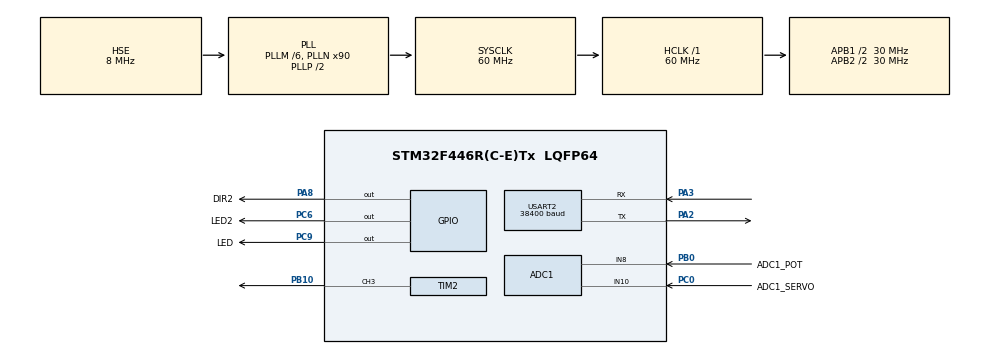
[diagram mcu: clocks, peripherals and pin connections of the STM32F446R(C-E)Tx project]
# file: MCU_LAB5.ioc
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ADC1.Channel-0\#ChannelRegularConversion=ADC_CHANNEL_10
ADC1.Channel-1\#ChannelRegularConversion=ADC_CHANNEL_8
ADC1.ContinuousConvMode=DISABLE
ADC1.DMAContinuousRequests=ENABLE
ADC1.NbrOfConversion=2
ADC1.NbrOfConversionFlag=1
ADC1.Rank-0\#ChannelRegularConversion=1
ADC1.Rank-1\#ChannelRegularConversion=2
ADC1.SamplingTime-0\#ChannelRegularConversion=ADC_SAMPLETIME_15CYCLES
ADC1.SamplingTime-1\#ChannelRegularConversion=ADC_SAMPLETIME_15CYCLES
ADC1.master=1
Dma.ADC1.0.Direction=DMA_PERIPH_TO_MEMORY
Dma.ADC1.0.FIFOMode=DMA_FIFOMODE_DISABLE
Dma.ADC1.0.Instance=DMA2_Stream0
Dma.ADC1.0.MemDataAlignment=DMA_MDATAALIGN_HALFWORD
Dma.ADC1.0.MemInc=DMA_MINC_ENABLE
Dma.ADC1.0.Mode=DMA_NORMAL
Dma.ADC1.0.PeriphDataAlignment=DMA_PDATAALIGN_HALFWORD
Dma.ADC1.0.PeriphInc=DMA_PINC_DISABLE
Dma.ADC1.0.Priority=DMA_PRIORITY_LOW
Dma.Request0=ADC1
Dma.Request1=USART2_TX
Dma.USART2_TX.1.Direction=DMA_MEMORY_TO_PERIPH
Dma.USART2_TX.1.FIFOMode=DMA_FIFOMODE_DISABLE
Dma.USART2_TX.1.Instance=DMA1_Stream6
Dma.USART2_TX.1.MemDataAlignment=DMA_MDATAALIGN_BYTE
Dma.USART2_TX.1.MemInc=DMA_MINC_ENABLE
Dma.USART2_TX.1.Mode=DMA_NORMAL
Dma.USART2_TX.1.PeriphDataAlignment=DMA_PDATAALIGN_BYTE
Dma.USART2_TX.1.PeriphInc=DMA_PINC_DISABLE
Dma.USART2_TX.1.Priority=DMA_PRIORITY_LOW
Mcu.Family=STM32F4
Mcu.Name=STM32F446R(C-E)Tx
Mcu.Package=LQFP64
NVIC.DMA1_Stream6_IRQn=true\:0\:0\:false\:false\:true\:false\:true\:true
NVIC.DMA2_Stream0_IRQn=true\:0\:0\:false\:false\:true\:false\:true\:true
NVIC.PriorityGroup=NVIC_PRIORITYGROUP_4
NVIC.TIM1_BRK_TIM9_IRQn=true\:0\:0\:false\:false\:true\:true\:true\:true
NVIC.TIM1_CC_IRQn=true\:0\:0\:false\:false\:true\:true\:true\:true
NVIC.TIM1_TRG_COM_TIM11_IRQn=true\:0\:0\:false\:false\:true\:true\:true\:true
NVIC.TIM1_UP_TIM10_IRQn=true\:0\:0\:false\:false\:true\:true\:true\:true
NVIC.TIM2_IRQn=true\:0\:0\:false\:false\:true\:true\:true\:true
NVIC.USART2_IRQn=true\:0\:0\:false\:false\:true\:true\:true\:true
PA2.Mode=Asynchronous
PA2.Signal=USART2_TX
PA3.Mode=Asynchronous
PA3.Signal=USART2_RX
PA8.GPIO_Label=DIR2
PA8.Signal=GPIO_Output
PB0.GPIO_Label=ADC1_POT
PB0.Signal=ADCx_IN8
PB10.Signal=S_TIM2_CH3
PC0.GPIO_Label=ADC1_SERVO
PC0.Signal=ADCx_IN10
PC6.GPIO_Label=LED2
PC6.Signal=GPIO_Output
PC9.GPIO_Label=LED
PC9.Signal=GPIO_Output
PH0-OSC_IN.Mode=HSE-External-Oscillator
PH0-OSC_IN.Signal=RCC_OSC_IN
PH1-OSC_OUT.Mode=HSE-External-Oscillator
PH1-OSC_OUT.Signal=RCC_OSC_OUT
ProjectManager.HeapSize=0x200
ProjectManager.StackSize=0x400
ProjectManager.TargetToolchain=STM32CubeIDE
RCC.AHBFreq_Value=60000000
RCC.APB1CLKDivider=RCC_HCLK_DIV2
RCC.APB1Freq_Value=30000000
RCC.APB1TimFreq_Value=60000000
RCC.APB2CLKDivider=RCC_HCLK_DIV2
RCC.APB2Freq_Value=30000000
RCC.APB2TimFreq_Value=60000000
RCC.CortexFreq_Value=60000000
RCC.HCLKFreq_Value=60000000
RCC.HSE_VALUE=8000000
RCC.PLLM=6
RCC.PLLN=90
RCC.PLLSourceVirtual=RCC_PLLSOURCE_HSE
RCC.SYSCLKFreq_VALUE=60000000
RCC.SYSCLKSource=RCC_SYSCLKSOURCE_PLLCLK
RCC.USBFreq_Value=60000000
RCC.VCOOutputFreq_Value=120000000
SH.ADCx_IN10.0=ADC1_IN10,IN10
SH.ADCx_IN8.0=ADC1_IN8,IN8
SH.S_TIM2_CH3.0=TIM2_CH3,PWM Generation3 CH3
TIM1.Period=400-1
TIM1.Prescaler=60-1
TIM2.Channel-PWM\ Generation3\ CH3=TIM_CHANNEL_3
TIM2.Period=1000-1
TIM2.Prescaler=60-1
USART2.BaudRate=38400
USART2.VirtualMode=VM_ASYNC
VP_TIM1_VS_ClockSourceINT.Mode=Internal
VP_TIM2_VS_ClockSourceINT.Mode=Internal
board=custom

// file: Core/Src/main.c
/* USER CODE BEGIN Header */
/**
  ******************************************************************************
  * @file           : main.c
  * @brief          : Main program body
  ******************************************************************************
  * @attention
  *
  * Copyright (c) 2024 STMicroelectronics.
  * All rights reserved.
  *
  * This software is licensed under terms that can be found in the LICENSE file
  * in the root directory of this software component.
  * If no LICENSE file comes with this software, it is provided AS-IS.
  *
  ******************************************************************************
  */
/* USER CODE END Header */
#include "main.h"

/* USER CODE BEGIN Includes */
#include <math.h>
#include <stdio.h>
#include <stdbool.h>
#include <string.h>
/* USER CODE END Includes */

ADC_HandleTypeDef hadc1;
DMA_HandleTypeDef hdma_adc1;

TIM_HandleTypeDef htim1;
TIM_HandleTypeDef htim2;

UART_HandleTypeDef huart2;
DMA_HandleTypeDef hdma_usart2_tx;

/* USER CODE BEGIN PV */
uint16_t ADC_RESULT_BUFFER[2]; // [RANK1, RANK2] == [POT, SERVO] -- i guess
float external_pot_angle = 0.0f;
float servo_pot_angle = 0.0f;
float error = 0.0f;
float prev_error = 0.0f;
float diff = 0.0f;
float integral = 0.0f;
float control = 0.0f;
uint32_t DUTY_CYCLE = 0; // in %

float kp = 2.0f;
float ki = 4.0f;
float kd = 2.0f;

volatile bool adc_data_ready = false;
/* USER CODE END PV */

void SystemClock_Config(void);
static void MX_GPIO_Init(void);
static void MX_DMA_Init(void);
static void MX_ADC1_Init(void);
static void MX_TIM2_Init(void);
static void MX_TIM1_Init(void);
static void MX_USART2_UART_Init(void);

/* USER CODE BEGIN 0 */
#define message_header 0xABCD
#define message_terminator 0xBEDA
// no matter there is the zero, because float ...
bool get_sign(float x) {
    return x >= 0.0;
}

typedef struct{
  uint16_t header;
  uint16_t motor_pos;
  uint16_t pot_pos;
//  uint16_t error;
//  uint16_t control;
  uint16_t terminator;
} message;

message msg;

void sendToSimulink() {
	msg.header = message_header;
	msg.pot_pos = floorf(ADC_RESULT_BUFFER[0] );
	msg.motor_pos = floorf(ADC_RESULT_BUFFER[1] );
//	msg.error = floorf(error * 100);
//	msg.control = floorf(control * 100);
	msg.terminator = message_terminator;

    uint8_t buffer[sizeof(msg)];
    memcpy(buffer, &msg, sizeof(msg));
//    HAL_UART_Transmit(&huart2, (uint8_t*)&msg, sizeof(msg), HAL_MAX_DELAY);
    HAL_UART_Transmit_DMA(&huart2, (uint8_t*)&msg, sizeof(msg));
    memset(buffer, 0, sizeof(buffer));
}

/* USER CODE END 0 */

int main(void)
{

  /* MCU Configuration--------------------------------------------------------*/

  /* Reset of all peripherals, Initializes the Flash interface and the Systick. */
  HAL_Init();

  /* Configure the system clock */
  SystemClock_Config();

  /* Initialize all configured peripherals */
  MX_GPIO_Init();
  MX_DMA_Init();
  MX_ADC1_Init();
  MX_TIM2_Init();
  MX_TIM1_Init();
  MX_USART2_UART_Init();
  /* USER CODE BEGIN 2 */
  HAL_ADC_Start_DMA(&hadc1, ADC_RESULT_BUFFER, 2);
  HAL_TIM_PWM_Start(&htim2, TIM_CHANNEL_3);
  HAL_TIM_Base_Start_IT(&htim1);

  /* USER CODE END 2 */

  /* Infinite loop */
  /* USER CODE BEGIN WHILE */
  while (1)
  {
      if (adc_data_ready)
      {

      adc_data_ready = false;
	  error = servo_pot_angle - external_pot_angle;

	  diff = (error - prev_error); // INTERRUPTS between timer should be +- same time, else we need to divide by delta_time(can get from timer) to get derivative ?

	  integral = integral + error*0.001f;

	  control = kp*error + ki*integral; // + ki*integral + kd*diff;
	  if ( fabs(error) >= 40.0 ){
	////	   set Duty Cycle: 1000 <--> 100%  ; 905 <-> 90.5%
		  HAL_GPIO_WritePin(DIR2_GPIO_Port, DIR2_Pin, get_sign(-error)); // set direction of the servo

		  // MAX Error: 270 (obviously)
		  DUTY_CYCLE = (uint32_t) (control > 0) ? control : -control;
		  if (DUTY_CYCLE > 999){
			  __HAL_TIM_SET_COMPARE(&htim2, TIM_CHANNEL_3, 999);
		  }else{
			  __HAL_TIM_SET_COMPARE(&htim2, TIM_CHANNEL_3, DUTY_CYCLE);
		  }
		  prev_error = error;

	  } else __HAL_TIM_SET_COMPARE(&htim2, TIM_CHANNEL_3, 0);

	  sendToSimulink();
	  if (error >= 0.0) HAL_GPIO_TogglePin(LED_GPIO_Port, LED_Pin);
	  else HAL_GPIO_TogglePin(LED2_GPIO_Port, LED2_Pin);
      }

    /* USER CODE END WHILE */

  }
}

void SystemClock_Config(void)
{
  RCC_OscInitTypeDef RCC_OscInitStruct = {0};
  RCC_ClkInitTypeDef RCC_ClkInitStruct = {0};

  /** Configure the main internal regulator output voltage
  */
  __HAL_RCC_PWR_CLK_ENABLE();
  __HAL_PWR_VOLTAGESCALING_CONFIG(PWR_REGULATOR_VOLTAGE_SCALE3);

  /** Initializes the RCC Oscillators according to the specified parameters
  * in the RCC_OscInitTypeDef structure.
  */
  RCC_OscInitStruct.OscillatorType = RCC_OSCILLATORTYPE_HSE;
  RCC_OscInitStruct.HSEState = RCC_HSE_ON;
  RCC_OscInitStruct.PLL.PLLState = RCC_PLL_ON;
  RCC_OscInitStruct.PLL.PLLSource = RCC_PLLSOURCE_HSE;
  RCC_OscInitStruct.PLL.PLLM = 6;
  RCC_OscInitStruct.PLL.PLLN = 90;
  RCC_OscInitStruct.PLL.PLLP = RCC_PLLP_DIV2;
  RCC_OscInitStruct.PLL.PLLQ = 2;
  RCC_OscInitStruct.PLL.PLLR = 2;
  if (HAL_RCC_OscConfig(&RCC_OscInitStruct) != HAL_OK)
  {
    Error_Handler();
  }

  /** Initializes the CPU, AHB and APB buses clocks
  */
  RCC_ClkInitStruct.ClockType = RCC_CLOCKTYPE_HCLK|RCC_CLOCKTYPE_SYSCLK
                              |RCC_CLOCKTYPE_PCLK1|RCC_CLOCKTYPE_PCLK2;
  RCC_ClkInitStruct.SYSCLKSource = RCC_SYSCLKSOURCE_PLLCLK;
  RCC_ClkInitStruct.AHBCLKDivider = RCC_SYSCLK_DIV1;
  RCC_ClkInitStruct.APB1CLKDivider = RCC_HCLK_DIV2;
  RCC_ClkInitStruct.APB2CLKDivider = RCC_HCLK_DIV2;

  if (HAL_RCC_ClockConfig(&RCC_ClkInitStruct, FLASH_LATENCY_1) != HAL_OK)
  {
    Error_Handler();
  }
}

static void MX_ADC1_Init(void)
{

  ADC_ChannelConfTypeDef sConfig = {0};

  /** Configure the global features of the ADC (Clock, Resolution, Data Alignment and number of conversion)
  */
  hadc1.Instance = ADC1;
  hadc1.Init.ClockPrescaler = ADC_CLOCK_SYNC_PCLK_DIV2;
  hadc1.Init.Resolution = ADC_RESOLUTION_12B;
  hadc1.Init.ScanConvMode = ENABLE;
  hadc1.Init.ContinuousConvMode = DISABLE;
  hadc1.Init.DiscontinuousConvMode = DISABLE;
  hadc1.Init.ExternalTrigConvEdge = ADC_EXTERNALTRIGCONVEDGE_NONE;
  hadc1.Init.ExternalTrigConv = ADC_SOFTWARE_START;
  hadc1.Init.DataAlign = ADC_DATAALIGN_RIGHT;
  hadc1.Init.NbrOfConversion = 2;
  hadc1.Init.DMAContinuousRequests = ENABLE;
  hadc1.Init.EOCSelection = ADC_EOC_SINGLE_CONV;
  if (HAL_ADC_Init(&hadc1) != HAL_OK)
  {
    Error_Handler();
  }

  /** Configure for the selected ADC regular channel its corresponding rank in the sequencer and its sample time.
  */
  sConfig.Channel = ADC_CHANNEL_10;
  sConfig.Rank = 1;
  sConfig.SamplingTime = ADC_SAMPLETIME_15CYCLES;
  if (HAL_ADC_ConfigChannel(&hadc1, &sConfig) != HAL_OK)
  {
    Error_Handler();
  }

  /** Configure for the selected ADC regular channel its corresponding rank in the sequencer and its sample time.
  */
  sConfig.Channel = ADC_CHANNEL_8;
  sConfig.Rank = 2;
  if (HAL_ADC_ConfigChannel(&hadc1, &sConfig) != HAL_OK)
  {
    Error_Handler();
  }

}

static void MX_TIM1_Init(void)
{

  TIM_ClockConfigTypeDef sClockSourceConfig = {0};
  TIM_MasterConfigTypeDef sMasterConfig = {0};

  htim1.Instance = TIM1;
  htim1.Init.Prescaler = 60-1;
  htim1.Init.CounterMode = TIM_COUNTERMODE_UP;
  htim1.Init.Period = 400-1;
  htim1.Init.ClockDivision = TIM_CLOCKDIVISION_DIV1;
  htim1.Init.RepetitionCounter = 0;
  htim1.Init.AutoReloadPreload = TIM_AUTORELOAD_PRELOAD_DISABLE;
  if (HAL_TIM_Base_Init(&htim1) != HAL_OK)
  {
    Error_Handler();
  }
  sClockSourceConfig.ClockSource = TIM_CLOCKSOURCE_INTERNAL;
  if (HAL_TIM_ConfigClockSource(&htim1, &sClockSourceConfig) != HAL_OK)
  {
    Error_Handler();
  }
  sMasterConfig.MasterOutputTrigger = TIM_TRGO_RESET;
  sMasterConfig.MasterSlaveMode = TIM_MASTERSLAVEMODE_DISABLE;
  if (HAL_TIMEx_MasterConfigSynchronization(&htim1, &sMasterConfig) != HAL_OK)
  {
    Error_Handler();
  }

}

static void MX_TIM2_Init(void)
{

  TIM_ClockConfigTypeDef sClockSourceConfig = {0};
  TIM_MasterConfigTypeDef sMasterConfig = {0};
  TIM_OC_InitTypeDef sConfigOC = {0};

  htim2.Instance = TIM2;
  htim2.Init.Prescaler = 60-1;
  htim2.Init.CounterMode = TIM_COUNTERMODE_UP;
  htim2.Init.Period = 1000-1;
  htim2.Init.ClockDivision = TIM_CLOCKDIVISION_DIV1;
  htim2.Init.AutoReloadPreload = TIM_AUTORELOAD_PRELOAD_DISABLE;
  if (HAL_TIM_Base_Init(&htim2) != HAL_OK)
  {
    Error_Handler();
  }
  sClockSourceConfig.ClockSource = TIM_CLOCKSOURCE_INTERNAL;
  if (HAL_TIM_ConfigClockSource(&htim2, &sClockSourceConfig) != HAL_OK)
  {
    Error_Handler();
  }
  if (HAL_TIM_PWM_Init(&htim2) != HAL_OK)
  {
    Error_Handler();
  }
  sMasterConfig.MasterOutputTrigger = TIM_TRGO_RESET;
  sMasterConfig.MasterSlaveMode = TIM_MASTERSLAVEMODE_DISABLE;
  if (HAL_TIMEx_MasterConfigSynchronization(&htim2, &sMasterConfig) != HAL_OK)
  {
    Error_Handler();
  }
  sConfigOC.OCMode = TIM_OCMODE_PWM1;
  sConfigOC.Pulse = 0;
  sConfigOC.OCPolarity = TIM_OCPOLARITY_HIGH;
  sConfigOC.OCFastMode = TIM_OCFAST_DISABLE;
  if (HAL_TIM_PWM_ConfigChannel(&htim2, &sConfigOC, TIM_CHANNEL_3) != HAL_OK)
  {
    Error_Handler();
  }
  HAL_TIM_MspPostInit(&htim2);

}

static void MX_USART2_UART_Init(void)
{

  huart2.Instance = USART2;
  huart2.Init.BaudRate = 38400;
  huart2.Init.WordLength = UART_WORDLENGTH_8B;
  huart2.Init.StopBits = UART_STOPBITS_1;
  huart2.Init.Parity = UART_PARITY_NONE;
  huart2.Init.Mode = UART_MODE_TX_RX;
  huart2.Init.HwFlowCtl = UART_HWCONTROL_NONE;
  huart2.Init.OverSampling = UART_OVERSAMPLING_16;
  if (HAL_UART_Init(&huart2) != HAL_OK)
  {
    Error_Handler();
  }

}

static void MX_DMA_Init(void)
{

  /* DMA controller clock enable */
  __HAL_RCC_DMA2_CLK_ENABLE();
  __HAL_RCC_DMA1_CLK_ENABLE();

  /* DMA interrupt init */
  /* DMA1_Stream6_IRQn interrupt configuration */
  HAL_NVIC_SetPriority(DMA1_Stream6_IRQn, 0, 0);
  HAL_NVIC_EnableIRQ(DMA1_Stream6_IRQn);
  /* DMA2_Stream0_IRQn interrupt configuration */
  HAL_NVIC_SetPriority(DMA2_Stream0_IRQn, 0, 0);
  HAL_NVIC_EnableIRQ(DMA2_Stream0_IRQn);

}

static void MX_GPIO_Init(void)
{
  GPIO_InitTypeDef GPIO_InitStruct = {0};

  /* GPIO Ports Clock Enable */
  __HAL_RCC_GPIOH_CLK_ENABLE();
  __HAL_RCC_GPIOC_CLK_ENABLE();
  __HAL_RCC_GPIOA_CLK_ENABLE();
  __HAL_RCC_GPIOB_CLK_ENABLE();

  /*Configure GPIO pin Output Level */
  HAL_GPIO_WritePin(GPIOC, LED2_Pin|LED_Pin, GPIO_PIN_RESET);

  /*Configure GPIO pin Output Level */
  HAL_GPIO_WritePin(DIR2_GPIO_Port, DIR2_Pin, GPIO_PIN_RESET);

  /*Configure GPIO pins : LED2_Pin LED_Pin */
  GPIO_InitStruct.Pin = LED2_Pin|LED_Pin;
  GPIO_InitStruct.Mode = GPIO_MODE_OUTPUT_PP;
  GPIO_InitStruct.Pull = GPIO_NOPULL;
  GPIO_InitStruct.Speed = GPIO_SPEED_FREQ_LOW;
  HAL_GPIO_Init(GPIOC, &GPIO_InitStruct);

  /*Configure GPIO pin : DIR2_Pin */
  GPIO_InitStruct.Pin = DIR2_Pin;
  GPIO_InitStruct.Mode = GPIO_MODE_OUTPUT_PP;
  GPIO_InitStruct.Pull = GPIO_NOPULL;
  GPIO_InitStruct.Speed = GPIO_SPEED_FREQ_LOW;
  HAL_GPIO_Init(DIR2_GPIO_Port, &GPIO_InitStruct);

}

/* USER CODE BEGIN 4 */

void HAL_TIM_PeriodElapsedCallback(TIM_HandleTypeDef *htim){
	if (htim == &htim1){
		if(htim->Instance == TIM1){
//			external_pot_angle = (ADC_RESULT_BUFFER[0] * (45.0f) ) / 4095.0f; // external pot --> 300*
//			servo_pot_angle = (ADC_RESULT_BUFFER[1] * (45.0f) ) / 4095.0f; // servo pot --> 270*
			external_pot_angle = ADC_RESULT_BUFFER[0]; // external pot --> 300*
			servo_pot_angle = ADC_RESULT_BUFFER[1]; // servo pot --> 270*
			HAL_ADC_Start_DMA(&hadc1, ADC_RESULT_BUFFER, 2);
			adc_data_ready = true;
		}
	}

}
/* USER CODE END 4 */

void Error_Handler(void)
{
  __disable_irq();
  while (1)
  {
  }
}
